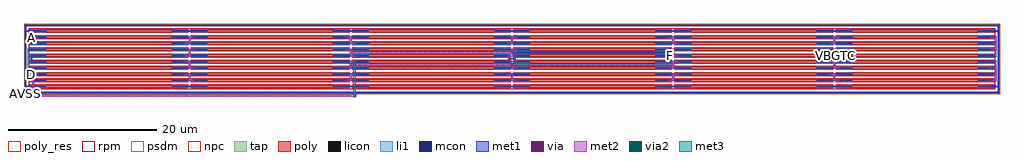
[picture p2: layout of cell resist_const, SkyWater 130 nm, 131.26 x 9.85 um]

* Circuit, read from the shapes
.subckt resist_const A AVSS C D F VBGSC VBGTC
XR1 n1 AVSS AVSS sky130_fd_pr__res_high_po w=0.35 l=16.88
XR2 n2 n3 AVSS sky130_fd_pr__res_high_po w=0.35 l=16.88
XR3 n4 D AVSS sky130_fd_pr__res_high_po w=0.35 l=16.88
XR4 n5 n6 AVSS sky130_fd_pr__res_high_po w=0.35 l=16.88
XR5 n7 n8 AVSS sky130_fd_pr__res_high_po w=0.35 l=16.88
XR6 n9 n8 AVSS sky130_fd_pr__res_high_po w=0.35 l=16.88
XR7 n10 n6 AVSS sky130_fd_pr__res_high_po w=0.35 l=16.88
XR8 n11 C AVSS sky130_fd_pr__res_high_po w=0.35 l=16.88
XR9 n12 A AVSS sky130_fd_pr__res_high_po w=0.35 l=16.88
XR10 n13 AVSS AVSS sky130_fd_pr__res_high_po w=0.35 l=16.88
XR11 n14 n1 AVSS sky130_fd_pr__res_high_po w=0.35 l=16.88
XR12 n15 n4 AVSS sky130_fd_pr__res_high_po w=0.35 l=16.88
XR13 n16 n2 AVSS sky130_fd_pr__res_high_po w=0.35 l=16.88
XR14 n17 n7 AVSS sky130_fd_pr__res_high_po w=0.35 l=16.88
XR15 n18 n5 AVSS sky130_fd_pr__res_high_po w=0.35 l=16.88
XR16 n19 n10 AVSS sky130_fd_pr__res_high_po w=0.35 l=16.88
XR17 n20 n9 AVSS sky130_fd_pr__res_high_po w=0.35 l=16.88
XR18 n21 n12 AVSS sky130_fd_pr__res_high_po w=0.35 l=16.88
XR19 n22 n11 AVSS sky130_fd_pr__res_high_po w=0.35 l=16.88
XR20 n23 n13 AVSS sky130_fd_pr__res_high_po w=0.35 l=16.88
XR21 n24 n14 AVSS sky130_fd_pr__res_high_po w=0.35 l=16.88
XR22 n25 n16 AVSS sky130_fd_pr__res_high_po w=0.35 l=16.88
XR23 n26 n15 AVSS sky130_fd_pr__res_high_po w=0.35 l=16.88
XR24 n27 n18 AVSS sky130_fd_pr__res_high_po w=0.35 l=16.88
XR25 n28 n3 AVSS sky130_fd_pr__res_high_po w=0.35 l=16.88
XR26 n20 n20 AVSS sky130_fd_pr__res_high_po w=0.35 l=16.88
XR27 VBGSC n19 AVSS sky130_fd_pr__res_high_po w=0.35 l=16.88
XR28 n29 n22 AVSS sky130_fd_pr__res_high_po w=0.35 l=16.88
XR29 n30 n21 AVSS sky130_fd_pr__res_high_po w=0.35 l=16.88
XR30 n31 n23 AVSS sky130_fd_pr__res_high_po w=0.35 l=16.88
XR31 n32 n24 AVSS sky130_fd_pr__res_high_po w=0.35 l=16.88
XR32 n33 n26 AVSS sky130_fd_pr__res_high_po w=0.35 l=16.88
XR33 n34 n25 AVSS sky130_fd_pr__res_high_po w=0.35 l=16.88
XR34 n35 n17 AVSS sky130_fd_pr__res_high_po w=0.35 l=16.88
XR35 n27 n27 AVSS sky130_fd_pr__res_high_po w=0.35 l=16.88
XR36 F n28 AVSS sky130_fd_pr__res_high_po w=0.35 l=16.88
XR37 n36 n20 AVSS sky130_fd_pr__res_high_po w=0.35 l=16.88
XR38 n37 n30 AVSS sky130_fd_pr__res_high_po w=0.35 l=16.88
XR39 n38 n29 AVSS sky130_fd_pr__res_high_po w=0.35 l=16.88
XR40 n39 n31 AVSS sky130_fd_pr__res_high_po w=0.35 l=16.88
XR41 n40 n32 AVSS sky130_fd_pr__res_high_po w=0.35 l=16.88
XR42 n41 n34 AVSS sky130_fd_pr__res_high_po w=0.35 l=16.88
XR43 n42 n33 AVSS sky130_fd_pr__res_high_po w=0.35 l=16.88
XR44 n43 n27 AVSS sky130_fd_pr__res_high_po w=0.35 l=16.88
XR45 n44 n35 AVSS sky130_fd_pr__res_high_po w=0.35 l=16.88
XR46 n45 n36 AVSS sky130_fd_pr__res_high_po w=0.35 l=16.88
XR47 VBGTC VBGSC AVSS sky130_fd_pr__res_high_po w=0.35 l=16.88
XR48 n46 n38 AVSS sky130_fd_pr__res_high_po w=0.35 l=16.88
XR49 n47 n37 AVSS sky130_fd_pr__res_high_po w=0.35 l=16.88
XR50 n48 n39 AVSS sky130_fd_pr__res_high_po w=0.35 l=16.88
XR51 AVSS n40 AVSS sky130_fd_pr__res_high_po w=0.35 l=16.88
XR52 n49 n42 AVSS sky130_fd_pr__res_high_po w=0.35 l=16.88
XR53 n50 n41 AVSS sky130_fd_pr__res_high_po w=0.35 l=16.88
XR54 n49 n44 AVSS sky130_fd_pr__res_high_po w=0.35 l=16.88
XR55 n50 n43 AVSS sky130_fd_pr__res_high_po w=0.35 l=16.88
XR56 n51 VBGTC AVSS sky130_fd_pr__res_high_po w=0.35 l=16.88
XR57 n52 n45 AVSS sky130_fd_pr__res_high_po w=0.35 l=16.88
XR58 n51 n47 AVSS sky130_fd_pr__res_high_po w=0.35 l=16.88
XR59 n52 n46 AVSS sky130_fd_pr__res_high_po w=0.35 l=16.88
XR60 AVSS n48 AVSS sky130_fd_pr__res_high_po w=0.35 l=16.88
.ends

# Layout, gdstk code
from math import pi, radians
import gdstk
lib = gdstk.Library(unit=1e-6, precision=1e-09)
def R(c, l, rs):  # rectangles x0, y0, x1, y1
    for r in rs: c.add(gdstk.rectangle(r[:2], r[2:], *l))
def A(c, l, x, y, w, h, nx, ny, dx, dy):  # array of equal rectangles
    R(c, l, [(x+i*dx, y+j*dy, x+i*dx+w, y+j*dy+h) for i in range(nx) for j in range(ny)])
tap = (65, 44)
poly_res = (66, 13)
poly = (66, 20)
licon = (66, 44)
li1 = (67, 20)
mcon = (67, 44)
met1 = (68, 20)
via = (68, 44)
met2 = (69, 20)
via2 = (69, 44)
met3 = (70, 20)
rpm = (86, 20)
psdm = (94, 20)
npc = (95, 20)

sky130_fd_pr__res_high_p = lib.new_cell('sky130_fd_pr__res_high_po_0p35_SU58NF')
A(sky130_fd_pr__res_high_p, poly_res, -3.91, -62.7, 0.35, 17, 10, 6, 0.83, 21.68)
A(sky130_fd_pr__res_high_p, poly, -3.91, -64.78, 0.35, 21.16, 10, 6, 0.83, 21.68)
A(sky130_fd_pr__res_high_p, licon, -3.83, -64.7, 0.19, 2, 10, 2, 0.83, 19)
A(sky130_fd_pr__res_high_p, licon, -3.83, -43.02, 0.19, 2, 10, 2, 0.83, 19)
A(sky130_fd_pr__res_high_p, licon, -3.83, -21.34, 0.19, 2, 10, 2, 0.83, 19)
A(sky130_fd_pr__res_high_p, licon, -3.83, 0.34, 0.19, 2, 10, 2, 0.83, 19)
A(sky130_fd_pr__res_high_p, licon, -3.83, 22.02, 0.19, 2, 10, 2, 0.83, 19)
A(sky130_fd_pr__res_high_p, licon, -3.83, 43.7, 0.19, 2, 10, 2, 0.83, 19)
A(sky130_fd_pr__res_high_p, li1, -3.91, -64.78, 0.35, 2.16, 10, 2, 0.83, 19)
A(sky130_fd_pr__res_high_p, li1, -3.91, -43.1, 0.35, 2.16, 10, 2, 0.83, 19)
A(sky130_fd_pr__res_high_p, li1, -3.91, -21.42, 0.35, 2.16, 10, 2, 0.83, 19)
A(sky130_fd_pr__res_high_p, li1, -3.91, 0.26, 0.35, 2.16, 10, 2, 0.83, 19)
A(sky130_fd_pr__res_high_p, li1, -3.91, 21.94, 0.35, 2.16, 10, 2, 0.83, 19)
A(sky130_fd_pr__res_high_p, li1, -3.91, 43.62, 0.35, 2.16, 10, 2, 0.83, 19)
A(sky130_fd_pr__res_high_p, mcon, -3.82, -64.685, 0.17, 0.17, 10, 6, 0.83, 0.36)
A(sky130_fd_pr__res_high_p, mcon, -3.82, -45.69, 0.17, 0.17, 10, 6, 0.83, 0.36)
A(sky130_fd_pr__res_high_p, mcon, -3.82, -43.005, 0.17, 0.17, 10, 6, 0.83, 0.36)
A(sky130_fd_pr__res_high_p, mcon, -3.82, -24.01, 0.17, 0.17, 10, 6, 0.83, 0.36)
A(sky130_fd_pr__res_high_p, mcon, -3.82, -21.325, 0.17, 0.17, 10, 6, 0.83, 0.36)
A(sky130_fd_pr__res_high_p, mcon, -3.82, -2.33, 0.17, 0.17, 10, 6, 0.83, 0.36)
A(sky130_fd_pr__res_high_p, mcon, -3.82, 0.355, 0.17, 0.17, 10, 6, 0.83, 0.36)
A(sky130_fd_pr__res_high_p, mcon, -3.82, 19.35, 0.17, 0.17, 10, 6, 0.83, 0.36)
A(sky130_fd_pr__res_high_p, mcon, -3.82, 22.035, 0.17, 0.17, 10, 6, 0.83, 0.36)
A(sky130_fd_pr__res_high_p, mcon, -3.82, 41.03, 0.17, 0.17, 10, 6, 0.83, 0.36)
A(sky130_fd_pr__res_high_p, mcon, -3.82, 43.715, 0.17, 0.17, 10, 6, 0.83, 0.36)
A(sky130_fd_pr__res_high_p, mcon, -3.82, 62.71, 0.17, 0.17, 10, 6, 0.83, 0.36)
A(sky130_fd_pr__res_high_p, met1, -3.86, -64.75, 0.25, 2.105, 10, 2, 0.83, 18.995)
A(sky130_fd_pr__res_high_p, met1, -3.86, -43.07, 0.25, 2.105, 10, 2, 0.83, 18.995)
A(sky130_fd_pr__res_high_p, met1, -3.86, -21.39, 0.25, 2.105, 10, 2, 0.83, 18.995)
A(sky130_fd_pr__res_high_p, met1, -3.86, 0.29, 0.25, 2.105, 10, 2, 0.83, 18.995)
A(sky130_fd_pr__res_high_p, met1, -3.86, 21.97, 0.25, 2.105, 10, 2, 0.83, 18.995)
A(sky130_fd_pr__res_high_p, met1, -3.86, 43.65, 0.25, 2.105, 10, 2, 0.83, 18.995)
R(sky130_fd_pr__res_high_p, rpm, [(-4.11,-64.98,4.11,64.98)])
R(sky130_fd_pr__res_high_p, psdm, [(-4.02,-64.89,4.02,64.89)])
A(sky130_fd_pr__res_high_p, npc, -4.005, -64.875, 0.54, 21.35, 10, 6, 0.83, 21.68)

resist_const = lib.new_cell('resist_const')
R(resist_const, tap, [(11.345,-19.76,142.355,-19.59), (11.345,-19.59,11.515,-10.735), (142.185,-19.59,142.355,-10.735), (11.345,-10.735,142.355,-10.565)])
A(resist_const, licon, 11.655, -19.76, 0.17, 0.17, 384, 2, 0.34, 9.025)
A(resist_const, licon, 11.345, -19.33, 0.17, 0.17, 1, 25, 0, 0.34)
A(resist_const, licon, 142.185, -19.33, 0.17, 0.17, 1, 25, 0, 0.34)
R(resist_const, li1, [(11.345,-19.76,142.355,-19.59), (11.345,-19.59,11.515,-10.735), (142.185,-19.59,142.355,-10.735), (11.345,-10.735,142.355,-10.565)])
A(resist_const, mcon, 11.785, -19.76, 0.17, 0.17, 362, 2, 0.36, 9.025)
A(resist_const, mcon, 11.345, -19.39, 0.17, 0.17, 1, 24, 0, 0.36)
A(resist_const, mcon, 142.185, -19.39, 0.17, 0.17, 1, 24, 0, 0.36)
R(resist_const, mcon, [(11.345,-19.76,11.515,-19.59), (142.185,-19.76,142.355,-19.59), (11.345,-10.735,11.515,-10.565), (142.185,-10.735,142.355,-10.565)])
A(resist_const, met1, 33.14, -18.985, 0.7, 0.25, 5, 2, 21.68, 7.47)
A(resist_const, met1, 33.365, -17.905, 0.25, 0.58, 5, 2, 21.68, 4.98)
R(resist_const, met1, [(11.315,-19.82,11.545,-19.79), (142.155,-19.82,142.385,-19.79), (11.285,-19.79,142.415,-19.56), (11.315,-19.56,11.545,-18.985), (142.155,-19.56,142.385,-18.985), (11.315,-18.985,12.335,-18.735), (141.395,-18.985,142.385,-18.735), (11.315,-18.735,11.545,-11.515), (142.155,-18.735,142.385,-11.515), (33.84,-18.21,34.1,-17.85), (54.56,-18.21,54.82,-17.85), (77.2,-18.21,77.46,-17.85), (97.92,-18.21,98.18,-17.85), (120.56,-18.21,120.82,-17.85), (141.28,-18.21,141.54,-17.85), (12.29,-18.16,12.65,-17.9), (12.16,-18.155,12.285,-17.905), (33.14,-18.155,33.615,-17.905), (55.045,-18.155,55.52,-17.905), (76.5,-18.155,76.975,-17.905), (98.405,-18.155,98.88,-17.905), (119.86,-18.155,120.335,-17.905), (32.88,-17.38,33.14,-17.02), (55.52,-17.38,55.78,-17.02), (76.24,-17.38,76.5,-17.02), (98.88,-17.38,99.14,-17.02), (119.6,-17.38,119.86,-17.02), (12.16,-17.325,12.315,-17.075), (33.365,-17.325,33.84,-17.075), (54.82,-17.325,55.295,-17.075), (76.725,-17.325,77.2,-17.075), (98.18,-17.325,98.655,-17.075), (120.085,-17.325,120.56,-17.075), (141.54,-17.325,142.015,-17.075), (141.765,-17.075,142.015,-15.665), (33.84,-16.55,34.1,-16.19), (54.56,-16.55,54.82,-16.19), (77.2,-16.55,77.46,-16.19), (97.92,-16.55,98.18,-16.19), (120.56,-16.55,120.82,-16.19), (141.28,-16.55,141.54,-16.19), (11.685,-16.495,12.16,-16.245), (33.14,-16.495,33.615,-16.245), (55.045,-16.495,55.52,-16.245), (76.5,-16.495,76.975,-16.245), (98.405,-16.495,98.88,-16.245), (119.86,-16.495,120.335,-16.245), (11.685,-16.245,11.935,-14.005), (33.365,-16.245,33.615,-15.665), (55.045,-16.245,55.295,-15.665), (76.725,-16.245,76.975,-16.05), (98.405,-16.245,98.655,-16.05), (120.085,-16.245,120.335,-15.665), (76.725,-16.05,98.655,-15.805), (76.725,-15.805,76.975,-15.665), (98.405,-15.805,98.655,-15.665), (32.88,-15.72,33.14,-15.36), (98.88,-15.72,99.14,-15.36), (119.6,-15.72,119.86,-15.36), (55.53,-15.675,55.79,-15.315), (12.1,-15.665,12.35,-14.585), (33.365,-15.665,33.84,-15.415), (54.82,-15.665,55.295,-15.415), (76.325,-15.665,76.56,-15.265), (76.725,-15.665,77.2,-15.415), (98.18,-15.665,98.655,-15.415), (120.085,-15.665,120.56,-15.415), (141.54,-15.665,142.015,-15.415), (76.325,-15.265,77.375,-15.03), (77.14,-15.03,77.375,-14.585), (32.88,-14.89,33.14,-14.53), (55.52,-14.89,55.78,-14.53), (76.24,-14.89,76.5,-14.53), (98.88,-14.89,99.14,-14.53), (119.6,-14.89,119.86,-14.53), (33.365,-14.835,33.84,-14.585), (54.82,-14.835,55.295,-14.585), (120.085,-14.835,120.56,-14.585), (141.54,-14.835,142.015,-14.585), (98.08,-14.83,98.19,-14.59), (33.365,-14.585,33.615,-14.005), (55.045,-14.585,55.295,-14.005), (120.085,-14.585,120.335,-14.005), (141.765,-14.585,142.015,-13.175), (76.725,-14.39,98.655,-14.2), (76.725,-14.2,76.975,-14.005), (98.405,-14.2,98.655,-14.005), (33.84,-14.06,34.1,-13.7), (54.56,-14.06,54.82,-13.7), (77.2,-14.06,77.46,-13.7), (97.92,-14.06,98.18,-13.7), (120.56,-14.06,120.82,-13.7), (141.28,-14.06,141.54,-13.7), (11.685,-14.005,12.16,-13.755), (33.14,-14.005,33.615,-13.755), (55.045,-14.005,55.52,-13.755), (76.5,-14.005,76.975,-13.755), (98.405,-14.005,98.88,-13.755), (119.86,-14.005,120.335,-13.755), (32.88,-13.23,33.14,-12.87), (55.52,-13.23,55.78,-12.87), (76.24,-13.23,76.5,-12.87), (98.88,-13.23,99.14,-12.87), (119.6,-13.23,119.86,-12.87), (12.16,-13.175,12.305,-12.925), (33.365,-13.175,33.84,-12.925), (54.82,-13.175,55.295,-12.925), (76.725,-13.175,77.2,-12.925), (98.18,-13.175,98.655,-12.925), (120.085,-13.175,120.56,-12.925), (141.54,-13.175,142.015,-12.925), (33.84,-12.4,34.1,-12.04), (54.56,-12.4,54.82,-12.04), (77.2,-12.4,77.46,-12.04), (97.92,-12.4,98.18,-12.04), (120.56,-12.4,120.82,-12.04), (141.28,-12.4,141.54,-12.04), (12.16,-12.345,12.355,-12.095), (33.14,-12.345,33.615,-12.095), (55.045,-12.345,55.52,-12.095), (76.5,-12.345,76.975,-12.095), (98.405,-12.345,98.88,-12.095), (119.86,-12.345,120.335,-12.095), (11.315,-11.515,12.26,-11.265), (141.35,-11.515,142.385,-11.265), (11.315,-11.265,11.545,-10.765), (142.155,-11.265,142.385,-10.765), (11.285,-10.765,142.415,-10.535), (11.315,-10.535,11.545,-10.515), (142.155,-10.535,142.385,-10.515)])
R(resist_const, via, [(12.395,-18.105,12.545,-17.955), (33.895,-18.105,34.045,-17.955), (54.615,-18.105,54.765,-17.955), (77.255,-18.105,77.405,-17.955), (97.975,-18.105,98.125,-17.955), (120.615,-18.105,120.765,-17.955), (141.335,-18.105,141.485,-17.955), (32.935,-17.275,33.085,-17.125), (55.575,-17.275,55.725,-17.125), (76.295,-17.275,76.445,-17.125), (98.935,-17.275,99.085,-17.125), (119.655,-17.275,119.805,-17.125), (33.895,-16.445,34.045,-16.295), (54.615,-16.445,54.765,-16.295), (77.255,-16.445,77.405,-16.295), (97.975,-16.445,98.125,-16.295), (120.615,-16.445,120.765,-16.295), (141.335,-16.445,141.485,-16.295), (32.935,-15.615,33.085,-15.465), (98.935,-15.615,99.085,-15.465), (119.655,-15.615,119.805,-15.465), (55.585,-15.57,55.735,-15.42), (32.935,-14.785,33.085,-14.635), (55.575,-14.785,55.725,-14.635), (76.295,-14.785,76.445,-14.635), (98.935,-14.785,99.085,-14.635), (119.655,-14.785,119.805,-14.635), (33.895,-13.955,34.045,-13.805), (54.615,-13.955,54.765,-13.805), (77.255,-13.955,77.405,-13.805), (97.975,-13.955,98.125,-13.805), (120.615,-13.955,120.765,-13.805), (141.335,-13.955,141.485,-13.805), (32.935,-13.125,33.085,-12.975), (55.575,-13.125,55.725,-12.975), (76.295,-13.125,76.445,-12.975), (98.935,-13.125,99.085,-12.975), (119.655,-13.125,119.805,-12.975), (33.895,-12.295,34.045,-12.145), (54.615,-12.295,54.765,-12.145), (77.255,-12.295,77.405,-12.145), (97.975,-12.295,98.125,-12.145), (120.615,-12.295,120.765,-12.145), (141.335,-12.295,141.485,-12.145)])
A(resist_const, met2, 33.36, -17.9, 0.26, 0.57, 5, 2, 21.68, 4.98)
R(resist_const, met2, [(55.46,-20.26,55.88,-20.235), (12.34,-20.235,55.88,-19.975), (12.34,-19.975,12.6,-17.85), (55.46,-19.975,55.88,-19.93), (33.36,-18.16,34.15,-17.9), (54.51,-18.16,55.3,-17.9), (76.72,-18.16,77.51,-17.9), (97.87,-18.16,98.66,-17.9), (120.08,-18.16,120.87,-17.9), (141.23,-18.16,142.02,-17.9), (141.76,-17.9,142.02,-16.5), (32.83,-17.33,33.62,-17.07), (55.04,-17.33,55.83,-17.07), (76.19,-17.33,76.98,-17.07), (98.4,-17.33,99.19,-17.07), (119.55,-17.33,120.34,-17.07), (33.36,-16.5,34.15,-16.24), (54.51,-16.5,55.3,-16.24), (76.72,-16.5,77.51,-16.24), (97.87,-16.5,98.66,-16.24), (120.08,-16.5,120.87,-16.24), (141.23,-16.5,142.02,-16.24), (33.36,-16.24,33.62,-15.67), (55.04,-16.24,55.3,-16.085), (76.72,-16.24,76.98,-16.085), (98.4,-16.24,98.66,-15.67), (120.08,-16.24,120.34,-15.67), (55.04,-16.085,76.98,-15.825), (55.53,-15.675,55.81,-15.625), (32.83,-15.67,33.62,-15.41), (98.4,-15.67,99.19,-15.41), (119.55,-15.67,120.34,-15.41), (55.48,-15.625,55.84,-15.365), (55.53,-15.365,55.81,-15.295), (32.83,-14.84,33.62,-14.58), (55.04,-14.84,55.83,-14.58), (76.19,-14.84,76.98,-14.58), (98.4,-14.84,99.19,-14.58), (119.55,-14.84,120.34,-14.58), (33.36,-14.58,33.62,-14.01), (55.04,-14.58,55.3,-14.425), (76.72,-14.58,76.98,-14.425), (98.4,-14.58,98.66,-14.01), (120.08,-14.58,120.34,-14.01), (55.04,-14.425,76.98,-14.165), (55.04,-14.165,55.3,-14.01), (76.72,-14.165,76.98,-14.01), (33.36,-14.01,34.15,-13.75), (54.51,-14.01,55.3,-13.75), (76.72,-14.01,77.51,-13.75), (97.87,-14.01,98.66,-13.75), (120.08,-14.01,120.87,-13.75), (141.23,-14.01,142.02,-13.75), (141.76,-13.75,142.02,-12.35), (32.83,-13.18,33.62,-12.92), (55.04,-13.18,55.83,-12.92), (76.19,-13.18,76.98,-12.92), (98.4,-13.18,99.19,-12.92), (119.55,-13.18,120.34,-12.92), (33.36,-12.35,34.15,-12.09), (54.51,-12.35,55.3,-12.09), (76.72,-12.35,77.51,-12.09), (97.87,-12.35,98.66,-12.09), (120.08,-12.35,120.87,-12.09), (141.23,-12.35,142.02,-12.09)])
R(resist_const, via2, [(55.57,-20.195,55.77,-19.995), (55.57,-15.585,55.77,-15.385)])
R(resist_const, met3, [(55.48,-20.285,55.86,-15.32)])
R(resist_const, psdm, [(11.22,-19.885,142.48,-19.145), (11.22,-19.145,11.96,-11.105), (141.74,-19.145,142.48,-11.105), (11.22,-11.105,142.48,-10.44)])
resist_const.add(gdstk.Reference(sky130_fd_pr__res_high_p, (76.85,-15.125), rotation=pi/2))
resist_const.add(gdstk.Label('AVSS', (11.405,-19.78), layer=68, texttype=5))
resist_const.add(gdstk.Label('A', (12.255,-12.33), layer=68, texttype=5))
resist_const.add(gdstk.Label('D', (12.205,-17.31), layer=68, texttype=5))
resist_const.add(gdstk.Label('F', (98.13,-14.66), layer=68, texttype=5))
resist_const.add(gdstk.Label('VBGSC', (94.885,-14.315), layer=68, texttype=5))
resist_const.add(gdstk.Label('VBGTC', (120.405,-14.7), layer=68, texttype=5))
resist_const.add(gdstk.Label('C', (12.23,-13.165), layer=68, texttype=5))

lib.write_gds('resist_const.gds')
